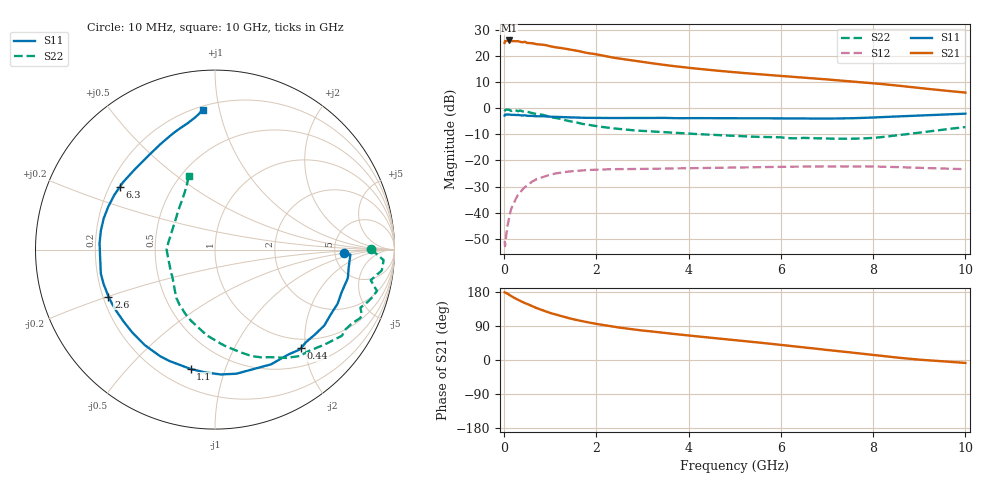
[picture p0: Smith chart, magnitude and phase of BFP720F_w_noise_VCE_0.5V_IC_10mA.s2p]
! Infineon Technologies  Discrete & RF Semiconductors
! BFP720F
! VCE =  0.5 V,  IC =  10 mA
! Common Emitter S-Parameters:  Jan 2016
# GHz  S  MA  R  50
!  f  S11  S21  S12  S22
! GHz  MAG  ANG  MAG  ANG  MAG  ANG  MAG  ANG
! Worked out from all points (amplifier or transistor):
!   233 points, 10 MHz to 10 GHz, reference 50 ohm
!   highest |S21| = 25.9 dB at 100 MHz (marker M1)
!   |S21| within 3 dB of that: start of sweep to 1.274 GHz
!   unconditionally stable (mu >= 1): start of sweep to 28.51 MHz; 6.421 GHz to end of sweep
!   at 200 MHz: K = 0.13, MSG = 31.2 dB, |S12| = -36.8 dB
!   at 1.74 GHz: K = 0.35, MSG = 22.5 dB, |S12| = -23.7 dB
!   at 10 GHz: K = 1.43, MAG = 10.7 dB, |S12| = -23.3 dB
!   lowest NFmin = 0.55 dB at 450 MHz
!   S11 on the Smith chart (normalised r, x): 10 MHz: 6.12, -0.48; 440 MHz: 0.82, -1.92; 1.1 GHz: 0.31, -0.77; 2.6 GHz: 0.22, -0.20; 6.3 GHz: 0.24, +0.28; 10 GHz: 0.22, +0.89
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0.01  0.7206 -1.5  17.66 178.6  0.0029 10.3  0.8675 0.2
0.02  0.7548 -2.1  19.1 178.1  0.0023 48.5  0.9093 -2.0
0.1  0.7569 -12.1  19.64 172.7  0.0074 76.6  0.9365 -7.1
0.15  0.7445 -18.1  19.05 169.1  0.0117 71.4  0.884 -11.1
0.3  0.7414 -34.7  19.02 158.9  0.022 68.7  0.8724 -21.8
0.38  0.7255 -43.4  18.27 154.3  0.0264 67.1  0.8798 -26.8
0.44  0.7284 -48.9  18.42 150.7  0.0304 63.7  0.8547 -30.9
0.5  0.7133 -55.0  17.62 147.9  0.0331 62.4  0.8546 -34.2
0.6  0.7114 -64.0  17.51 142.5  0.039 57.1  0.8073 -41.0
0.7  0.6989 -73.0  16.65 137.2  0.0437 52.8  0.77 -47.1
0.8  0.7017 -80.2  16.48 132.6  0.0467 50.2  0.7582 -51.4
1.1  0.6787 -101.5  14.59 120.4  0.056 40.0  0.6531 -66.8
1.38  0.6681 -116.3  13.41 111.1  0.0611 32.6  0.5721 -78.5
1.68  0.6552 -130.2  11.92 102.7  0.0646 26.3  0.5038 -90.1
2.2  0.6478 -147.3  9.827 91.1  0.0675 18.6  0.4284 -106.1
2.6  0.6488 -156.2  8.58 83.9  0.0683 14.3  0.3917 -115.5
3.4  0.6495 -167.0  6.815 72.4  0.0696 8.9  0.349 -127.3
5.1  0.6428 163.1  4.762 51.2  0.0732 0.9  0.2923 -142.8
6.3  0.635 146.9  3.938 36.0  0.0761 -5.1  0.2649 -168.8
6.8  0.6316 138.8  3.643 29.3  0.0767 -7.9  0.2646 174.5
8.4  0.6856 110.5  2.766 7.9  0.0752 -17.3  0.2932 135.1
10  0.7833 94.9  1.98 -7.7  0.0681 -21.6  0.4347 109.7
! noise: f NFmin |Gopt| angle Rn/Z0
0.45  0.55  0.3  3  0.33
0.9  0.58  0.27  8  0.12
1.8  0.62  0.25  13  0.15
2.4  0.65  0.22  23  0.14
5.5  0.8  0.2  43  0.09
10  1  0.28  -91  0.17
